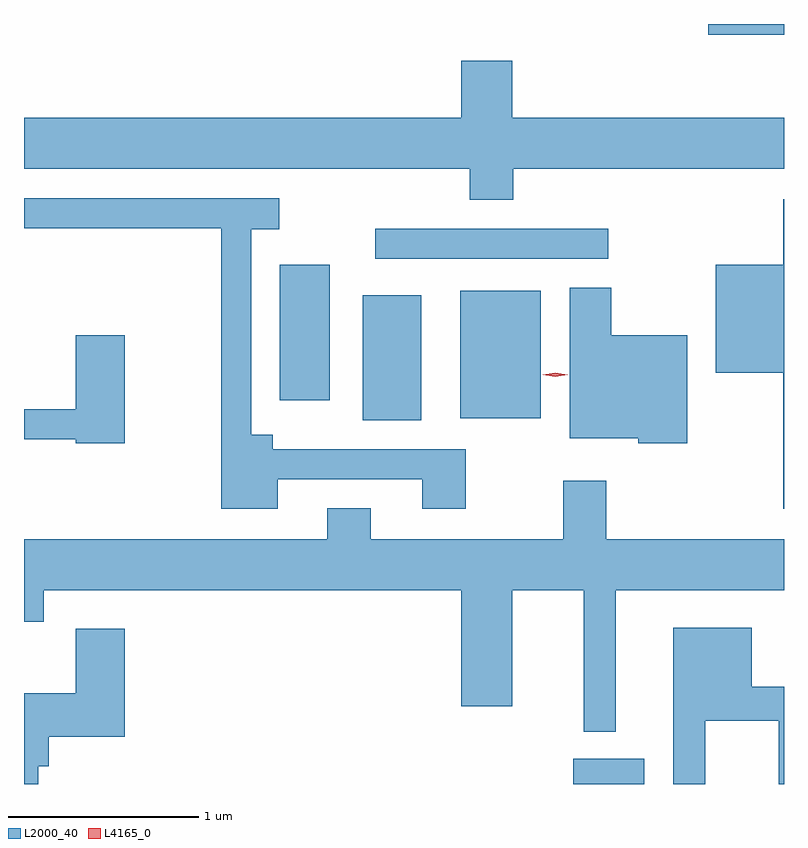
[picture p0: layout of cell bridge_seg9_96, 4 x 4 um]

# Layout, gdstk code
import gdstk
lib = gdstk.Library(unit=1e-6, precision=1e-09)
def R(c, l, rs):  # rectangles x0, y0, x1, y1
    for r in rs: c.add(gdstk.rectangle(r[:2], r[2:], *l))
def P(c, l, *ps):  # polygons
    for p in ps: c.add(gdstk.Polygon(p, *l))
L2000_40 = (2000, 40)
L4165_0 = (4165, 0)

bridge_seg9_96 = lib.new_cell('bridge_seg9_96')
R(bridge_seg9_96, L2000_40, [(1734.146,2010.777,1734.519,2010.909), (1733.036,2012.691,1733.344,2013.349), (1733.551,2012.701,1733.974,2013.374), (1732.601,2012.796,1732.864,2013.509), (1733.103,2013.541,1734.328,2013.699), (1734.856,2014.721,1735.254,2014.777)])
P(bridge_seg9_96, L2000_40, [(1733.829,2014.016),(1735.254,2014.016),(1735.254,2014.284),(1733.824,2014.284),(1733.824,2014.584),(1733.556,2014.584),(1733.556,2014.284),(1731.254,2014.284),(1731.254,2014.016),(1733.601,2014.016),(1733.601,2013.851),(1733.829,2013.851)],
  [(1732.589,2012.381),(1733.351,2012.381),(1733.351,2012.226),(1733.579,2012.226),(1733.579,2012.539),(1732.564,2012.539),(1732.564,2012.614),(1732.449,2012.614),(1732.449,2013.696),(1732.598,2013.696),(1732.598,2013.859),(1731.254,2013.859),(1731.254,2013.701),(1732.291,2013.701),(1732.291,2012.226),(1732.589,2012.226)],
  [(1735.254,2013.854),(1735.251,2013.854),(1735.251,2013.509),(1734.896,2013.509),(1734.896,2012.941),(1735.251,2012.941),(1735.251,2012.226),(1735.254,2012.226)],
  [(1734.744,2013.139),(1734.344,2013.139),(1734.344,2013.389),(1734.126,2013.389),(1734.126,2012.596),(1734.486,2012.596),(1734.486,2012.571),(1734.744,2012.571)],
  [(1731.784,2013.139),(1731.526,2013.139),(1731.526,2012.749),(1731.254,2012.749),(1731.254,2012.591),(1731.526,2012.591),(1731.526,2012.571),(1731.784,2012.571)],
  [(1734.369,2011.796),(1735.254,2011.796),(1735.254,2012.064),(1734.319,2012.064),(1734.319,2012.374),(1734.091,2012.374),(1734.091,2012.064),(1733.079,2012.064),(1733.079,2012.229),(1732.851,2012.229),(1732.851,2012.064),(1731.254,2012.064),(1731.254,2011.631),(1731.359,2011.631),(1731.359,2011.796),(1733.556,2011.796),(1733.556,2011.186),(1733.824,2011.186),(1733.824,2011.796),(1734.201,2011.796),(1734.201,2011.053),(1734.369,2011.053)],
  [(1734.839,2011.111),(1735.226,2011.111),(1735.226,2010.777),(1735.254,2010.777),(1735.254,2011.289),(1735.084,2011.289),(1735.084,2011.599),(1734.671,2011.599),(1734.671,2010.777),(1734.839,2010.777)],
  [(1731.329,2010.871),(1731.384,2010.871),(1731.384,2011.026),(1731.784,2011.026),(1731.784,2011.594),(1731.526,2011.594),(1731.526,2011.254),(1731.254,2011.254),(1731.254,2010.777),(1731.329,2010.777)])
P(bridge_seg9_96, L4165_0, [(1734.05,2012.921),(1733.984,2012.931),(1733.983,2012.931),(1733.984,2012.932),(1734.05,2012.941),(1734.116,2012.931),(1734.116,2012.93),(1734.116,2012.93)])

lib.write_gds('bridge_seg9_96.gds')
